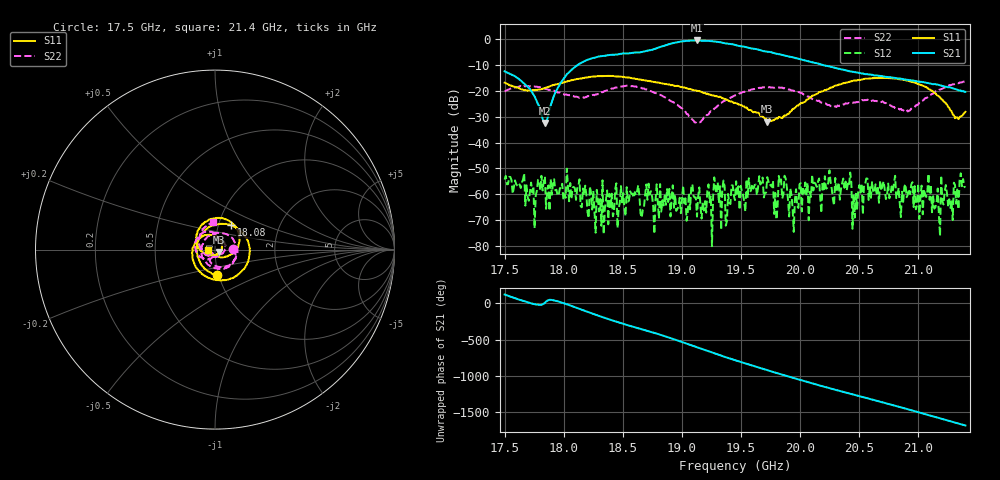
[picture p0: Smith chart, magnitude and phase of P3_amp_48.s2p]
!Created with skrf (http://scikit-rf.org).
# GHz S RI R 50.0
!freq ReS11 ImS11 ReS21 ImS21 ReS12 ImS12 ReS22 ImS22
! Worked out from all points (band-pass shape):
!   401 points, 17.5 GHz to 21.4 GHz, reference 50 ohm
!   highest |S21| = -0.43 dB at 19.13 GHz (marker M1); lowest = -32.5 dB at 17.84 GHz (marker M2)
!   |S21| within 3 dB of the highest: 18.79 GHz to 19.58 GHz (790.7 MHz wide, 4.12 % of centre)
!   lowest |S11| = -31.9 dB at 19.72 GHz (marker M3), VSWR 1.05, Z = 52.2 - j1.4 ohm
!   |S11| at or under -10 dB: start of sweep to end of sweep
!   |S22| runs from -32.2 to -16.2 dB; largest |S21 - S12| = 0.95
!   S11 on the Smith chart (normalised r, x): 17.5 GHz: 0.98, -0.29; 18.08 GHz: 1.15, +0.32; 21.4 GHz: 0.92, -0.00
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17.5  0.00879 -0.144  -0.1331 0.1995  -0.00151 0.00118  0.0976 0.00148
17.84125  -0.0726 0.0874  0.0235 0.00422  -0.000372 0.00215  0.0255 -0.1068
18.07525  0.0891 0.1354  0.2074 -0.1691  0.000989 0.000898  -0.0735 -0.0308
18.15325  0.1404 0.1043  0.0222 -0.3542  0.000338 -0.000444  -0.0734 0.02
18.319  0.192 -0.0227  -0.4705 0.0286  8.08e-05 0.00023  0.0108 0.0936
18.4945  0.1132 -0.1491  0.0538 0.5272  0.000619 0.000316  0.1215 0.0164
18.66025  -0.0218 -0.1633  0.5661 0.0348  -0.000301 0.000177  0.0663 -0.0914
18.8065  -0.107 -0.0974  0.2823 -0.6411  -0.000311 -0.00013  -0.00837 -0.0847
19.0015  -0.1155 0.0267  -0.9068 -0.1077  -0.000532 0.000597  -0.0343 -0.0311
19.12825  -0.067 0.0752  -0.3866 0.8693  0.000128 0.000344  -0.0148 -0.0209
19.294  0.000568 0.0794  0.8399 0.3191  0.00102 0.000126  -0.0186 -0.0453
19.3915  0.0238 0.0612  0.6981 -0.4335  -0.000266 0.000973  -0.0451 -0.054
19.45  0.0335 0.0486  0.346 -0.7002  0.000766 -4.03e-05  -0.0656 -0.0494
19.723  0.0214 -0.0134  -0.5406 0.2047  0.00155 -0.00147  -0.1055 0.0537
19.86925  -0.00864 -0.0324  0.0265 0.4861  0.00051 -0.00221  -0.0534 0.0998
19.92775  -0.025 -0.0325  0.2345 0.3893  0.000165 -0.000964  -0.0268 0.0988
20.10325  -0.0808 -0.00592  0.3297 -0.1441  -0.00195 -0.00139  0.0143 0.0686
20.41525  -0.0832 0.1238  -0.2311 -0.0698  -0.00136 0.000484  0.0144 0.0569
20.464  -0.0699 0.1439  -0.2318 0.0161  -0.000182 0.000301  0.0216 0.0552
20.7565  0.0852 0.1559  0.1219 0.1378  0.000416 0.00072  0.0537 -0.00495
21.166  0.0727 -0.0357  -0.0998 -0.087  0.000952 -0.000866  -0.0897 0.0465
21.4  -0.0394 -0.00143  -0.0396 0.0876  -0.00121 -0.000597  -0.00967 0.1541
